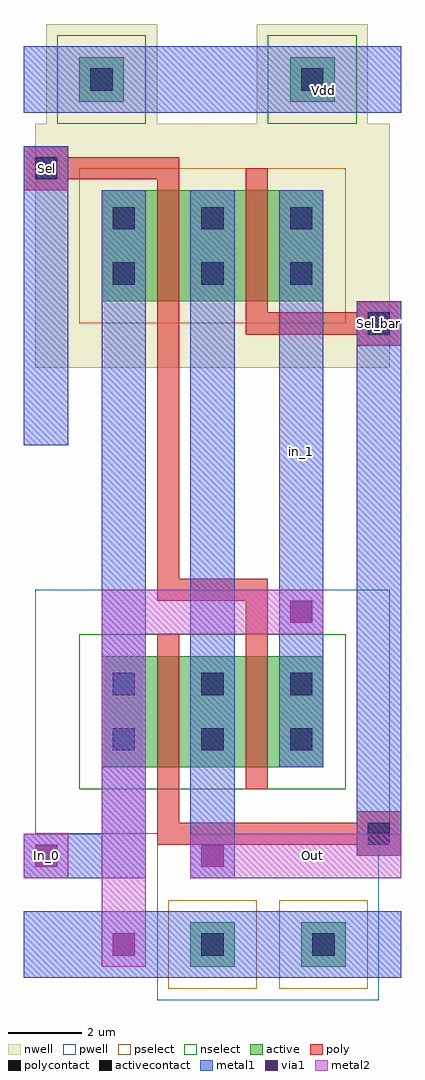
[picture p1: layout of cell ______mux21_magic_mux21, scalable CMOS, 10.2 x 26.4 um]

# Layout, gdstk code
import gdstk
lib = gdstk.Library(unit=1e-6, precision=1e-09)
def R(c, l, rs):  # rectangles x0, y0, x1, y1
    for r in rs: c.add(gdstk.rectangle(r[:2], r[2:], *l))
def A(c, l, x, y, w, h, nx, ny, dx, dy):  # array of equal rectangles
    R(c, l, [(x+i*dx, y+j*dy, x+i*dx+w, y+j*dy+h) for i in range(nx) for j in range(ny)])
pwell = (41, 0)
nwell = (42, 0)
active = (43, 0)
pselect = (44, 0)
nselect = (45, 0)
poly = (46, 0)
polycontact = (47, 0)
activecontact = (48, 0)
metal1 = (49, 0)
via1 = (50, 0)
metal2 = (51, 0)

c_______mux21_magic_mux21 = lib.new_cell('______mux21_magic_mux21')
R(c_______mux21_magic_mux21, pwell, [(-5.4,-11.7,0.6,-7.2), (-8.7,-7.2,0.9,-0.6)])
R(c_______mux21_magic_mux21, nwell, [(-8.7,5.4,0.9,12), (-8.4,12,-5.4,14.7), (-2.7,12,0.3,14.7)])
R(c_______mux21_magic_mux21, active, [(-4.5,-10.8,-3.3,-9.6), (-1.5,-10.8,-0.3,-9.6), (-6.9,-5.4,-0.9,-2.4), (-6.9,7.2,-0.9,10.2), (-7.5,12.6,-6.3,13.8), (-1.8,12.6,-0.6,13.8)])
R(c_______mux21_magic_mux21, pselect, [(-5.1,-11.4,-2.7,-9), (-2.1,-11.4,0.3,-9), (-7.5,6.6,-0.3,10.8)])
R(c_______mux21_magic_mux21, nselect, [(-7.5,-6,-0.3,-1.8), (-8.1,12,-5.7,14.4), (-2.4,12,0,14.4)])
R(c_______mux21_magic_mux21, poly, [(0,-7.8,1.2,-7.5), (-5.4,-7.5,1.2,-6.9), (-5.4,-6.9,-4.8,-1.8), (0,-6.9,1.2,-6.6), (-3,-6,-2.4,-0.9), (-5.4,-0.9,-2.4,-0.3), (-5.4,-0.3,-4.8,10.5), (0,6,1.2,6.3), (-3,6.3,1.2,6.9), (-3,6.9,-2.4,10.8), (0,6.9,1.2,7.2), (-9,10.2,-7.8,10.5), (-9,10.5,-4.8,11.1), (-9,11.1,-7.8,11.4)])
R(c_______mux21_magic_mux21, polycontact, [(0.3,-7.5,0.9,-6.9), (0.3,6.3,0.9,6.9), (-8.7,10.5,-8.1,11.1)])
A(c_______mux21_magic_mux21, activecontact, -6.6, -4.95, 0.6, 0.6, 3, 2, 2.4, 1.5)
A(c_______mux21_magic_mux21, activecontact, -6.6, 7.65, 0.6, 0.6, 3, 2, 2.4, 1.5)
R(c_______mux21_magic_mux21, activecontact, [(-4.2,-10.5,-3.6,-9.9), (-1.2,-10.5,-0.6,-9.9), (-7.2,12.9,-6.6,13.5), (-1.5,12.9,-0.9,13.5)])
R(c_______mux21_magic_mux21, metal1, [(-9,-11.1,1.2,-9.3), (-9,-8.4,-5.7,-7.2), (-4.5,-8.4,-3.3,10.2), (0,-7.8,1.2,7.2), (-6.9,-7.2,-5.7,10.2), (-2.1,-5.4,-0.9,10.2), (-9,3.3,-7.8,11.4), (-9,12.3,1.2,14.1)])
R(c_______mux21_magic_mux21, via1, [(-6.6,-10.5,-6,-9.9), (-8.7,-8.1,-8.1,-7.5), (-4.2,-8.1,-3.6,-7.5), (-1.8,-1.5,-1.2,-0.9)])
R(c_______mux21_magic_mux21, metal2, [(-6.9,-10.8,-5.7,-1.8), (-9,-8.4,-7.8,-7.2), (-4.5,-8.4,1.2,-7.2), (-6.9,-1.8,-0.9,-0.6)])
c_______mux21_magic_mux21.add(gdstk.Label('Sel_bar', (0.6,6.6), layer=49, texttype=0))
c_______mux21_magic_mux21.add(gdstk.Label('Sel', (-8.4,10.8), layer=49, texttype=0))
c_______mux21_magic_mux21.add(gdstk.Label('Vdd', (-0.9,12.9), layer=49, texttype=0))
c_______mux21_magic_mux21.add(gdstk.Label('In_0', (-8.4,-7.8), layer=51, texttype=0))
c_______mux21_magic_mux21.add(gdstk.Label('Out', (-1.2,-7.8), layer=51, texttype=0))
c_______mux21_magic_mux21.add(gdstk.Label('in_1', (-1.5,3.15), layer=49, texttype=0))

lib.write_gds('______mux21_magic_mux21.gds')
